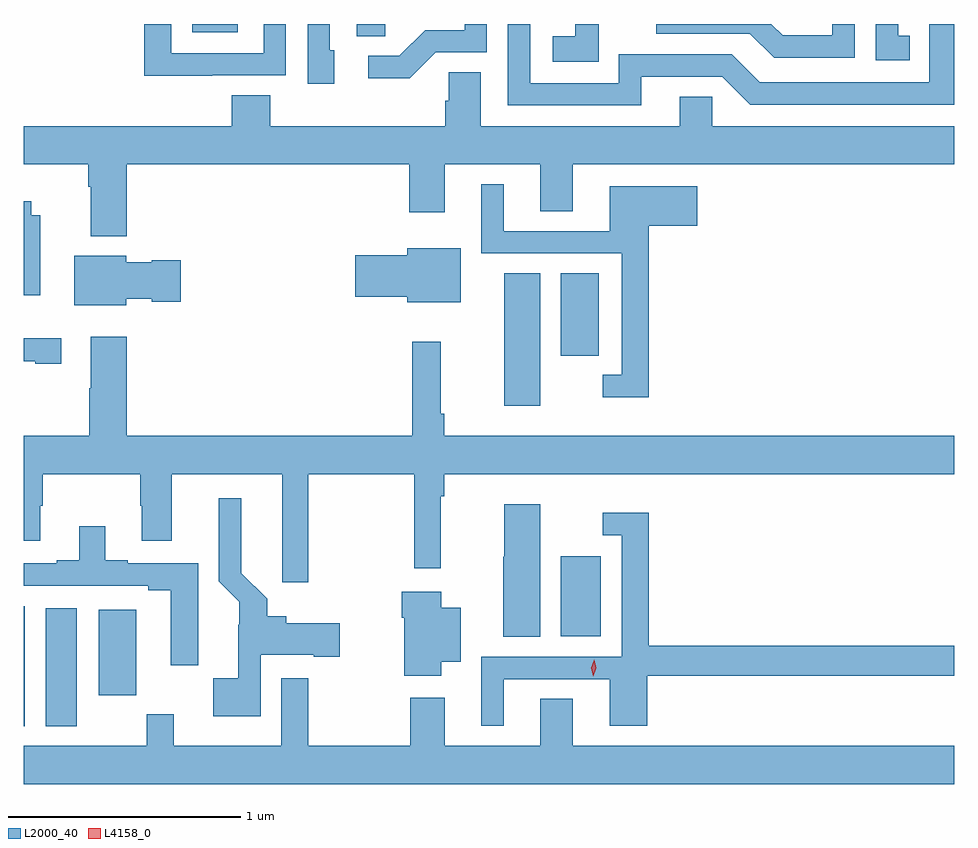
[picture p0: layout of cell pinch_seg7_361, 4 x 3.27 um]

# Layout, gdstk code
import gdstk
lib = gdstk.Library(unit=1e-6, precision=1e-09)
def R(c, l, rs):  # rectangles x0, y0, x1, y1
    for r in rs: c.add(gdstk.rectangle(r[:2], r[2:], *l))
def P(c, l, *ps):  # polygons
    for p in ps: c.add(gdstk.Polygon(p, *l))
L2000_40 = (2000, 40)
L4158_0 = (4158, 0)

pinch_seg7_361 = lib.new_cell('pinch_seg7_361')
R(pinch_seg7_361, L2000_40, [(489.826,1030.169,489.831,1030.684), (489.92,1030.169,490.054,1030.675), (490.148,1030.302,490.309,1030.669), (492.134,1030.556,492.307,1030.9), (491.891,1031.547,492.046,1032.116), (492.134,1031.76,492.298,1032.116), (491.258,1033.135,491.379,1033.187), (490.55,1033.151,490.747,1033.187)])
P(pinch_seg7_361, L2000_40, [(491.598,1033.065),(491.817,1033.065),(491.817,1033.187),(491.721,1033.187),(491.721,1033.161),(491.552,1033.161),(491.441,1033.05),(491.307,1033.05),(491.307,1032.953),(491.485,1032.953)],
  [(492.481,1032.96),(492.828,1032.96),(492.948,1032.84),(493.826,1032.84),(493.826,1033.187),(493.719,1033.187),(493.719,1032.936),(492.99,1032.936),(492.87,1033.056),(492.384,1033.056),(492.384,1032.933),(492.003,1032.933),(492.003,1033.187),(491.907,1033.187),(491.907,1032.837),(492.481,1032.837)],
  [(491.161,1033.074),(491.142,1033.074),(491.142,1033.187),(491.046,1033.187),(491.046,1032.93),(491.161,1032.93)],
  [(490.637,1032.966),(490.953,1032.966),(490.953,1033.187),(490.857,1033.187),(490.857,1033.062),(490.461,1033.062),(490.461,1033.187),(490.345,1033.187),(490.345,1032.965),(490.637,1032.965)],
  [(493.398,1033.187),(493.302,1033.187),(493.302,1033.138),(493.088,1033.138),(493.039,1033.187),(492.544,1033.187),(492.544,1033.146),(492.947,1033.146),(493.052,1033.041),(493.398,1033.041)],
  [(493.634,1033.137),(493.585,1033.137),(493.585,1033.187),(493.488,1033.187),(493.488,1033.032),(493.634,1033.032)],
  [(492.297,1033.187),(492.197,1033.187),(492.197,1033.135),(492.099,1033.135),(492.099,1033.025),(492.297,1033.025)],
  [(491.791,1032.98),(491.652,1032.98),(491.652,1032.857),(491.639,1032.857),(491.639,1032.748),(490.886,1032.748),(490.886,1032.881),(490.721,1032.881),(490.721,1032.748),(489.826,1032.748),(489.826,1032.584),(490.103,1032.584),(490.103,1032.488),(490.115,1032.488),(490.115,1032.275),(490.268,1032.275),(490.268,1032.584),(491.483,1032.584),(491.483,1032.378),(491.635,1032.378),(491.635,1032.584),(492.047,1032.584),(492.047,1032.382),(492.187,1032.382),(492.187,1032.584),(493.826,1032.584),(493.826,1032.748),(492.786,1032.748),(492.786,1032.875),(492.647,1032.875),(492.647,1032.748),(491.791,1032.748)],
  [(492.512,1032.32),(492.721,1032.32),(492.721,1032.49),(492.344,1032.49),(492.344,1032.297),(491.89,1032.297),(491.89,1032.499),(491.792,1032.499),(491.792,1032.201),(492.396,1032.201),(492.396,1031.679),(492.315,1031.679),(492.315,1031.582),(492.512,1031.582)],
  [(489.898,1032.364),(489.859,1032.364),(489.859,1032.424),(489.826,1032.424),(489.826,1032.02),(489.898,1032.02)],
  [(491.704,1032.223),(491.474,1032.223),(491.474,1032.192),(491.25,1032.192),(491.25,1032.014),(491.474,1032.014),(491.474,1031.99),(491.704,1031.99)],
  [(490.266,1032.005),(490.377,1032.005),(490.377,1031.993),(490.501,1031.993),(490.501,1032.171),(490.377,1032.171),(490.377,1032.163),(490.266,1032.163),(490.266,1032.19),(490.043,1032.19),(490.043,1031.978),(490.266,1031.978)],
  [(489.988,1031.837),(489.826,1031.837),(489.826,1031.737),(489.875,1031.737),(489.875,1031.727),(489.988,1031.727)],
  [(491.618,1031.512),(491.618,1031.821),(491.497,1031.821),(491.497,1031.416),(490.268,1031.416),(490.268,1031.842),(490.115,1031.842),(490.115,1031.621),(490.108,1031.621),(490.108,1031.416),(489.826,1031.416),(489.826,1030.965),(489.898,1030.965),(489.898,1031.116),(489.908,1031.116),(489.908,1031.252),(490.327,1031.252),(490.327,1031.116),(490.334,1031.116),(490.334,1030.965),(490.462,1030.965),(490.462,1031.252),(490.937,1031.252),(490.937,1030.788),(491.048,1030.788),(491.048,1031.252),(491.505,1031.252),(491.505,1030.848),(491.618,1030.848),(491.618,1031.156),(491.633,1031.156),(491.633,1031.252),(493.826,1031.252),(493.826,1031.416),(491.633,1031.416),(491.633,1031.512)],
  [(490.845,1030.475),(491.072,1030.475),(491.072,1030.468),(491.185,1030.468),(491.185,1030.61),(490.954,1030.61),(490.954,1030.642),(490.873,1030.642),(490.873,1030.716),(490.762,1030.827),(490.762,1031.149),(490.665,1031.149),(490.665,1030.791),(490.752,1030.704),(490.752,1030.604),(490.748,1030.604),(490.748,1030.375),(490.641,1030.375),(490.641,1030.211),(490.845,1030.211)],
  [(492.046,1031.122),(491.891,1031.122),(491.891,1030.896),(491.888,1030.896),(491.888,1030.552),(492.046,1030.552)],
  [(491.89,1030.371),(492.344,1030.371),(492.344,1030.17),(492.506,1030.17),(492.506,1030.386),(493.826,1030.386),(493.826,1030.514),(492.512,1030.514),(492.512,1031.086),(492.315,1031.086),(492.315,1030.989),(492.396,1030.989),(492.396,1030.467),(491.792,1030.467),(491.792,1030.17),(491.89,1030.17)],
  [(490.576,1030.869),(490.273,1030.869),(490.273,1030.882),(490.177,1030.882),(490.177,1031.029),(490.064,1031.029),(490.064,1030.882),(489.968,1030.882),(489.968,1030.869),(489.826,1030.869),(489.826,1030.773),(490.361,1030.773),(490.361,1030.753),(490.457,1030.753),(490.457,1030.43),(490.576,1030.43)],
  [(491.62,1030.445),(491.704,1030.445),(491.704,1030.678),(491.62,1030.678),(491.62,1030.747),(491.45,1030.747),(491.45,1030.634),(491.462,1030.634),(491.462,1030.386),(491.62,1030.386)],
  [(493.826,1030.084),(492.187,1030.084),(492.187,1030.286),(492.047,1030.286),(492.047,1030.084),(491.635,1030.084),(491.635,1030.291),(491.488,1030.291),(491.488,1030.084),(491.048,1030.084),(491.048,1030.375),(490.934,1030.375),(490.934,1030.084),(490.471,1030.084),(490.471,1030.219),(490.354,1030.219),(490.354,1030.084),(489.826,1030.084),(489.826,1029.92),(493.826,1029.92)])
P(pinch_seg7_361, L4158_0, [(492.274,1030.383),(492.266,1030.419),(492.278,1030.455),(492.278,1030.455),(492.278,1030.455),(492.286,1030.419),(492.275,1030.383),(492.275,1030.383)])

lib.write_gds('pinch_seg7_361.gds')
